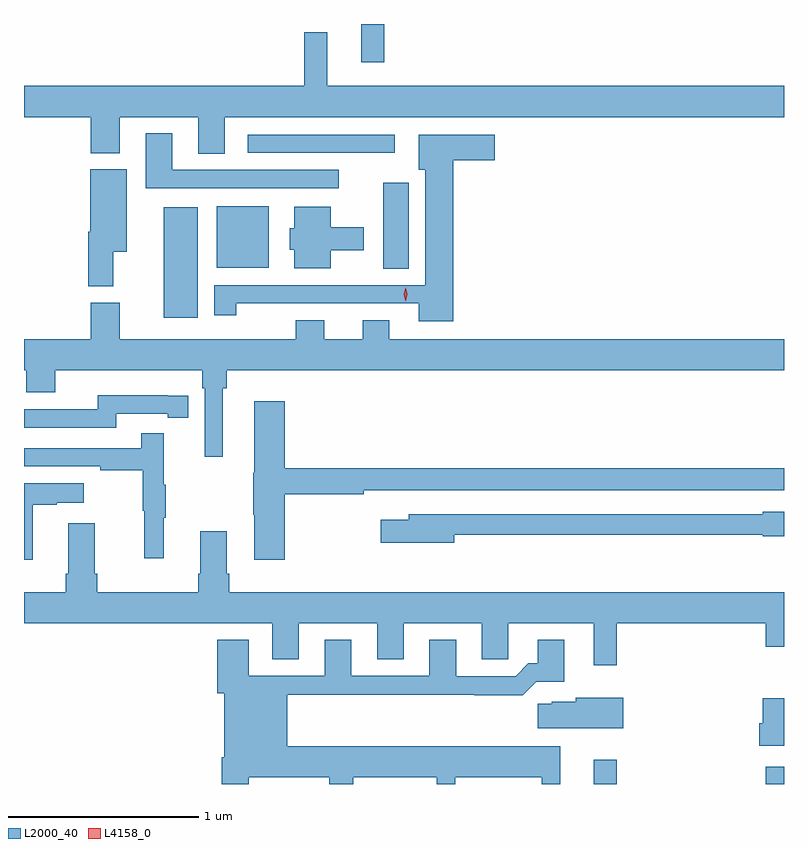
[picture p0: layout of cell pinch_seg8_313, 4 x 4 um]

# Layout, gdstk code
import gdstk
lib = gdstk.Library(unit=1e-6, precision=1e-09)
def R(c, l, rs):  # rectangles x0, y0, x1, y1
    for r in rs: c.add(gdstk.rectangle(r[:2], r[2:], *l))
def P(c, l, *ps):  # polygons
    for p in ps: c.add(gdstk.Polygon(p, *l))
L2000_40 = (2000, 40)
L4158_0 = (4158, 0)

pinch_seg8_313 = lib.new_cell('pinch_seg8_313')
R(pinch_seg8_313, L2000_40, [(592.697,1124.978,592.819,1125.106), (593.603,1124.978,593.699,1125.07), (590.435,1127.432,590.614,1128.013), (591.59,1127.689,591.724,1128.142), (590.714,1127.696,590.986,1128.019), (590.877,1128.3,591.649,1128.396), (591.473,1128.777,591.595,1128.978)])
P(pinch_seg8_313, L2000_40, [(590.755,1128.488),(593.699,1128.488),(593.699,1128.652),(591.295,1128.652),(591.295,1128.934),(591.174,1128.934),(591.174,1128.652),(589.699,1128.652),(589.699,1128.488),(590.051,1128.488),(590.051,1128.299),(590.203,1128.299),(590.203,1128.488),(590.615,1128.488),(590.615,1128.295),(590.755,1128.295)],
  [(591.355,1128.21),(590.479,1128.21),(590.479,1128.403),(590.339,1128.403),(590.339,1128.114),(591.355,1128.114)],
  [(591.959,1128.26),(592.177,1128.26),(592.177,1128.394),(591.776,1128.394),(591.776,1128.212),(591.812,1128.212),(591.812,1127.604),(590.699,1127.604),(590.699,1127.445),(590.817,1127.445),(590.817,1127.507),(591.044,1127.507),(591.044,1127.508),(591.776,1127.508),(591.776,1127.414),(591.959,1127.414)],
  [(590.17,1127.78),(590.239,1127.78),(590.239,1128.214),(590.048,1128.214),(590.048,1127.884),(590.036,1127.884),(590.036,1127.597),(590.17,1127.597)],
  [(591.313,1127.786),(591.487,1127.786),(591.487,1127.908),(591.313,1127.908),(591.313,1128.016),(591.122,1128.016),(591.122,1127.904),(591.098,1127.904),(591.098,1127.79),(591.122,1127.79),(591.122,1127.693),(591.313,1127.693)],
  [(590.746,1127.06),(590.765,1127.06),(590.765,1127.156),(593.699,1127.156),(593.699,1127.32),(591.622,1127.32),(591.622,1127.419),(591.482,1127.419),(591.482,1127.32),(591.28,1127.32),(591.28,1127.419),(591.128,1127.419),(591.128,1127.32),(590.203,1127.32),(590.203,1127.512),(590.051,1127.512),(590.051,1127.32),(589.699,1127.32),(589.699,1127.156),(589.712,1127.156),(589.712,1127.039),(589.864,1127.039),(589.864,1127.156),(590.636,1127.156),(590.636,1127.06),(590.649,1127.06),(590.649,1126.701),(590.746,1126.701)],
  [(590.184,1126.926),(590.456,1126.926),(590.456,1126.906),(590.564,1126.906),(590.564,1127.022),(590.456,1127.022),(590.456,1127.023),(590.088,1127.023),(590.088,1126.95),(589.699,1126.95),(589.699,1126.854),(590.184,1126.854)],
  [(591.071,1126.504),(591.488,1126.504),(591.488,1126.524),(593.699,1126.524),(593.699,1126.64),(591.071,1126.64),(591.071,1126.993),(590.912,1126.993),(590.912,1126.617),(590.905,1126.617),(590.905,1126.396),(590.912,1126.396),(590.912,1126.158),(591.071,1126.158)],
  [(590.435,1126.379),(590.446,1126.379),(590.446,1126.553),(590.435,1126.553),(590.435,1126.825),(590.317,1126.825),(590.317,1126.746),(589.699,1126.746),(589.699,1126.65),(590.101,1126.65),(590.101,1126.63),(590.325,1126.63),(590.325,1126.416),(590.332,1126.416),(590.332,1126.167),(590.435,1126.167)],
  [(589.744,1126.447),(589.871,1126.447),(589.871,1126.457),(590.014,1126.457),(590.014,1126.561),(589.699,1126.561),(589.699,1126.158),(589.744,1126.158)],
  [(591.964,1126.29),(593.586,1126.29),(593.586,1126.282),(593.699,1126.282),(593.699,1126.411),(593.586,1126.411),(593.586,1126.398),(591.725,1126.398),(591.725,1126.369),(591.576,1126.369),(591.576,1126.247),(591.964,1126.247)],
  [(592.819,1125.824),(593.603,1125.824),(593.603,1125.7),(593.699,1125.7),(593.699,1125.988),(590.78,1125.988),(590.78,1126.084),(590.767,1126.084),(590.767,1126.309),(590.627,1126.309),(590.627,1126.084),(590.615,1126.084),(590.615,1125.988),(590.084,1125.988),(590.084,1126.084),(590.071,1126.084),(590.071,1126.351),(589.931,1126.351),(589.931,1126.084),(589.919,1126.084),(589.919,1125.988),(589.699,1125.988),(589.699,1125.824),(591.005,1125.824),(591.005,1125.634),(591.145,1125.634),(591.145,1125.824),(591.557,1125.824),(591.557,1125.634),(591.697,1125.634),(591.697,1125.824),(592.109,1125.824),(592.109,1125.634),(592.248,1125.634),(592.248,1125.824),(592.697,1125.824),(592.697,1125.603),(592.819,1125.603)],
  [(590.881,1125.014),(591.305,1125.014),(591.305,1124.978),(591.433,1124.978),(591.433,1125.014),(591.872,1125.014),(591.872,1124.978),(591.97,1124.978),(591.97,1125.014),(592.424,1125.014),(592.424,1124.978),(592.522,1124.978),(592.522,1125.178),(591.085,1125.178),(591.085,1125.448),(592.069,1125.448),(592.069,1125.446),(592.325,1125.446),(592.395,1125.516),(592.543,1125.516),(592.543,1125.736),(592.403,1125.736),(592.403,1125.613),(592.354,1125.613),(592.287,1125.546),(591.973,1125.546),(591.973,1125.736),(591.833,1125.736),(591.833,1125.549),(591.421,1125.549),(591.421,1125.736),(591.281,1125.736),(591.281,1125.549),(590.881,1125.549),(590.881,1125.736),(590.717,1125.736),(590.717,1125.456),(590.753,1125.456),(590.753,1125.118),(590.741,1125.118),(590.741,1124.978),(590.881,1124.978)],
  [(592.852,1125.433),(592.602,1125.433),(592.602,1125.412),(592.476,1125.412),(592.476,1125.401),(592.404,1125.401),(592.404,1125.272),(592.852,1125.272)],
  [(593.699,1125.43),(593.588,1125.43),(593.588,1125.297),(593.57,1125.297),(593.57,1125.179),(593.699,1125.179)])
P(pinch_seg8_313, L4158_0, [(591.707,1127.519),(591.707,1127.519),(591.697,1127.555),(591.707,1127.591),(591.707,1127.591),(591.707,1127.591),(591.717,1127.555),(591.707,1127.519)])

lib.write_gds('pinch_seg8_313.gds')
